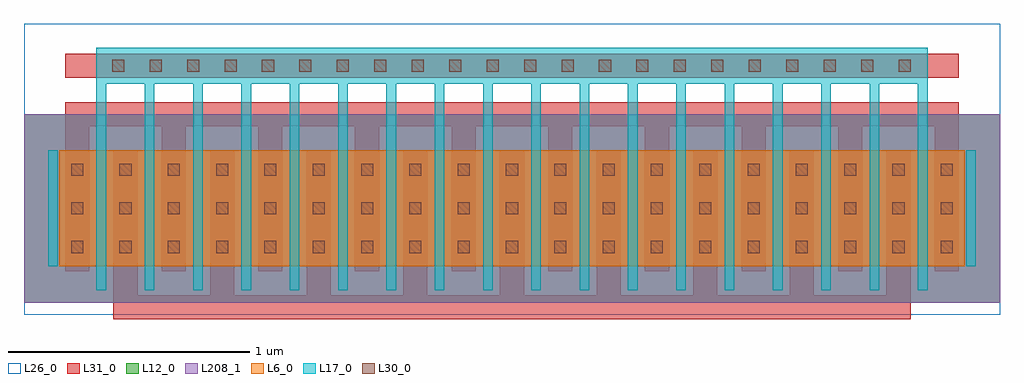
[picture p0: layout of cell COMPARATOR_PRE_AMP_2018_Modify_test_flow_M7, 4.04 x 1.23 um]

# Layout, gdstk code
import gdstk
lib = gdstk.Library(unit=1e-6, precision=1e-09)
def R(c, l, rs):  # rectangles x0, y0, x1, y1
    for r in rs: c.add(gdstk.rectangle(r[:2], r[2:], *l))
def A(c, l, x, y, w, h, nx, ny, dx, dy):  # array of equal rectangles
    R(c, l, [(x+i*dx, y+j*dy, x+i*dx+w, y+j*dy+h) for i in range(nx) for j in range(ny)])
L6_0 = (6, 0)
L12_0 = (12, 0)
L17_0 = (17, 0)
L26_0 = (26, 0)
L30_0 = (30, 0)
L31_0 = (31, 0)
L208_1 = (208, 1)

comparator_pre_amp_2018_ = lib.new_cell('COMPARATOR_PRE_AMP_2018_Modify_test_flow_M7')
R(comparator_pre_amp_2018_, L6_0, [(-0.075,-0.03,3.675,0.45)])
R(comparator_pre_amp_2018_, L12_0, [(-0.22,-0.18,3.82,0.6)])
A(comparator_pre_amp_2018_, L17_0, 0.08, -0.13, 0.04, 0.68, 18, 1, 0.2, 0)
A(comparator_pre_amp_2018_, L17_0, 0.08, 0.45, 0.04, 0.3, 18, 1, 0.2, 0)
R(comparator_pre_amp_2018_, L17_0, [(-0.12,-0.03,-0.08,0.45), (3.68,-0.03,3.72,0.45), (0.08,0.725,3.52,0.875)])
R(comparator_pre_amp_2018_, L26_0, [(-0.22,-0.23,3.82,0.975)])
A(comparator_pre_amp_2018_, L30_0, -0.025, 0.025, 0.05, 0.05, 19, 3, 0.2, 0.16)
A(comparator_pre_amp_2018_, L30_0, 0.145, 0.775, 0.05, 0.05, 22, 1, 0.155, 0)
A(comparator_pre_amp_2018_, L31_0, 0.15, -0.15, 0.1, 0.1, 9, 1, 0.4, 0)
A(comparator_pre_amp_2018_, L31_0, -0.05, -0.05, 0.1, 0.5, 19, 1, 0.2, 0)
A(comparator_pre_amp_2018_, L31_0, -0.05, -0.03, 0.1, 0.48, 19, 1, 0.2, 0)
A(comparator_pre_amp_2018_, L31_0, -0.05, 0.45, 0.1, 0.1, 10, 1, 0.4, 0)
R(comparator_pre_amp_2018_, L31_0, [(0.15,-0.25,3.45,-0.15), (-0.05,0.55,3.65,0.65), (-0.05,0.75,3.65,0.85), (0.08,0.75,3.52,0.85)])
R(comparator_pre_amp_2018_, L208_1, [(-0.22,-0.18,3.82,0.6)])

lib.write_gds('COMPARATOR_PRE_AMP_2018_Modify_test_flow_M7.gds')
